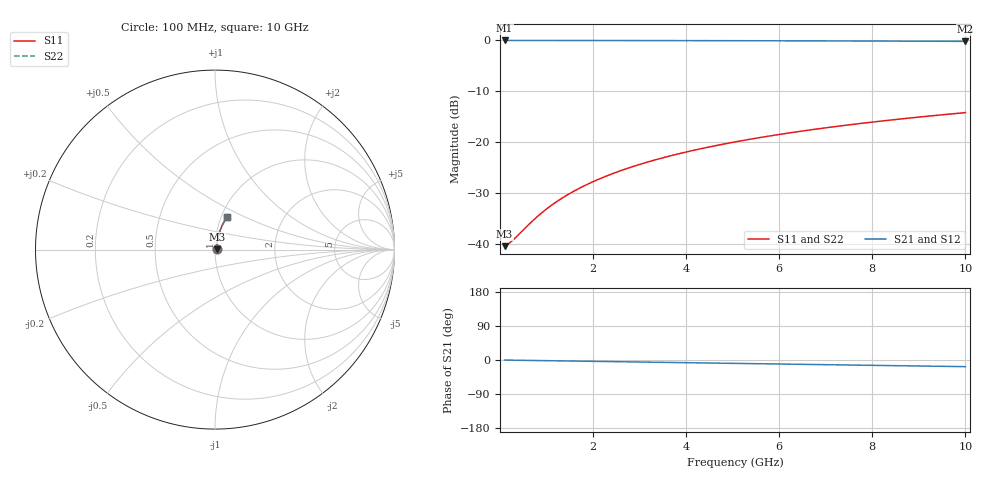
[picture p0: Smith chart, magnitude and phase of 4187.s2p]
# Hz S RI R 50.00
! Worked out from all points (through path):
!   100 points, 100 MHz to 10 GHz, reference 50 ohm
!   highest |S21| = -0.08 dB at 100 MHz (marker M1); lowest = -0.3 dB at 10 GHz (marker M2)
!   group delay of S21, straight-line fit = 4.88 ps
!   lowest |S11| = -40.3 dB at 100 MHz (marker M3), VSWR 1.02, Z = 50.9 + j0.201 ohm
!   |S11| at or under -10 dB: start of sweep to end of sweep
!   |S22| runs from -40.3 to -14.2 dB; largest |S21 - S12| = 0
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1e8  0.00941 0.00197  0.9906 -0.00307  0.9906 -0.00307  0.00941 0.00197
2e8  0.00949 0.00394  0.9905 -0.00613  0.9905 -0.00613  0.00949 0.00394
3e8  0.00956 0.00591  0.9904 -0.0092  0.9904 -0.0092  0.00956 0.00591
7e8  0.00993 0.0138  0.99 -0.0214  0.99 -0.0214  0.00993 0.0138
8e8  0.01 0.0157  0.9899 -0.0245  0.9899 -0.0245  0.01 0.0157
1e9  0.0103 0.0197  0.9896 -0.0306  0.9896 -0.0306  0.0103 0.0197
1.2e9  0.0106 0.0236  0.9893 -0.0368  0.9893 -0.0368  0.0106 0.0236
1.4e9  0.0109 0.0275  0.9889 -0.0429  0.9889 -0.0429  0.0109 0.0275
1.6e9  0.0113 0.0314  0.9885 -0.049  0.9885 -0.049  0.0113 0.0314
1.8e9  0.0118 0.0353  0.988 -0.0551  0.988 -0.0551  0.0118 0.0353
2.1e9  0.0125 0.0412  0.9872 -0.0642  0.9872 -0.0642  0.0125 0.0412
2.5e9  0.0137 0.0489  0.9859 -0.0764  0.9859 -0.0764  0.0137 0.0489
2.9e9  0.015 0.0567  0.9844 -0.0885  0.9844 -0.0885  0.015 0.0567
3.4e9  0.017 0.0663  0.9823 -0.1036  0.9823 -0.1036  0.017 0.0663
3.8e9  0.0187 0.0739  0.9803 -0.1156  0.9803 -0.1156  0.0187 0.0739
4.2e9  0.0207 0.0815  0.9782 -0.1276  0.9782 -0.1276  0.0207 0.0815
5.1e9  0.0258 0.0983  0.9726 -0.1544  0.9726 -0.1544  0.0258 0.0983
5.9e9  0.031 0.113  0.9668 -0.1779  0.9668 -0.1779  0.031 0.113
6.7e9  0.0369 0.1273  0.9603 -0.201  0.9603 -0.201  0.0369 0.1273
7.5e9  0.0436 0.1413  0.9529 -0.2239  0.9529 -0.2239  0.0436 0.1413
8.4e9  0.0518 0.1566  0.9438 -0.2491  0.9438 -0.2491  0.0518 0.1566
1e10  0.0683 0.1824  0.9255 -0.2927  0.9255 -0.2927  0.0683 0.1824
